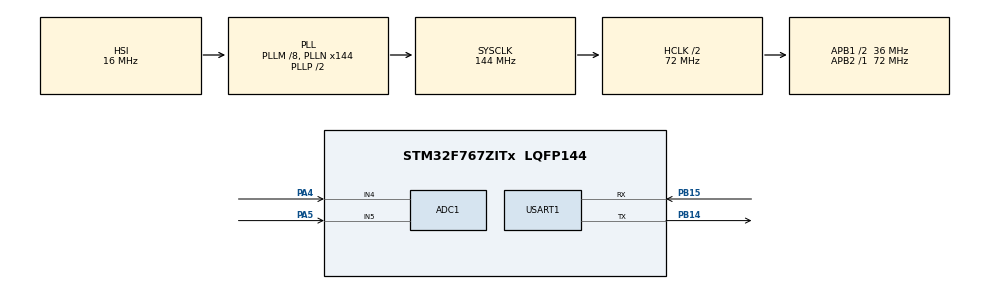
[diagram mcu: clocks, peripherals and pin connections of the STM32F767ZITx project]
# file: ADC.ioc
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ADC1.Channel-1\#ChannelRegularConversion=ADC_CHANNEL_5
ADC1.Channel-2\#ChannelRegularConversion=ADC_CHANNEL_4
ADC1.Channel-3\#ChannelRegularConversion=ADC_CHANNEL_TEMPSENSOR
ADC1.Channel-4\#ChannelRegularConversion=ADC_CHANNEL_VREFINT
ADC1.ClockPrescaler=ADC_CLOCK_SYNC_PCLK_DIV6
ADC1.ContinuousConvMode=ENABLE
ADC1.DMAContinuousRequests=ENABLE
ADC1.NbrOfConversion=4
ADC1.NbrOfConversionFlag=1
ADC1.Rank-1\#ChannelRegularConversion=1
ADC1.Rank-2\#ChannelRegularConversion=2
ADC1.Rank-3\#ChannelRegularConversion=3
ADC1.Rank-4\#ChannelRegularConversion=4
ADC1.SamplingTime-1\#ChannelRegularConversion=ADC_SAMPLETIME_56CYCLES
ADC1.SamplingTime-2\#ChannelRegularConversion=ADC_SAMPLETIME_56CYCLES
ADC1.SamplingTime-3\#ChannelRegularConversion=ADC_SAMPLETIME_56CYCLES
ADC1.SamplingTime-4\#ChannelRegularConversion=ADC_SAMPLETIME_56CYCLES
ADC1.master=1
CORTEX_M7.default_mode_Activation=1
Dma.ADC1.0.Direction=DMA_PERIPH_TO_MEMORY
Dma.ADC1.0.FIFOMode=DMA_FIFOMODE_DISABLE
Dma.ADC1.0.Instance=DMA2_Stream0
Dma.ADC1.0.MemDataAlignment=DMA_MDATAALIGN_HALFWORD
Dma.ADC1.0.MemInc=DMA_MINC_ENABLE
Dma.ADC1.0.Mode=DMA_CIRCULAR
Dma.ADC1.0.PeriphDataAlignment=DMA_PDATAALIGN_HALFWORD
Dma.ADC1.0.PeriphInc=DMA_PINC_DISABLE
Dma.ADC1.0.Priority=DMA_PRIORITY_LOW
Dma.Request0=ADC1
Dma.Request1=USART1_TX
Dma.USART1_TX.1.Direction=DMA_MEMORY_TO_PERIPH
Dma.USART1_TX.1.FIFOMode=DMA_FIFOMODE_DISABLE
Dma.USART1_TX.1.Instance=DMA2_Stream7
Dma.USART1_TX.1.MemDataAlignment=DMA_MDATAALIGN_BYTE
Dma.USART1_TX.1.MemInc=DMA_MINC_ENABLE
Dma.USART1_TX.1.Mode=DMA_NORMAL
Dma.USART1_TX.1.PeriphDataAlignment=DMA_PDATAALIGN_BYTE
Dma.USART1_TX.1.PeriphInc=DMA_PINC_DISABLE
Dma.USART1_TX.1.Priority=DMA_PRIORITY_LOW
Mcu.Family=STM32F7
Mcu.Name=STM32F767ZITx
Mcu.Package=LQFP144
NVIC.DMA2_Stream0_IRQn=true\:0\:0\:false\:false\:true\:false\:true\:true
NVIC.DMA2_Stream7_IRQn=true\:0\:0\:false\:false\:true\:false\:true\:true
NVIC.PriorityGroup=NVIC_PRIORITYGROUP_4
NVIC.USART1_IRQn=true\:0\:0\:false\:false\:true\:true\:true\:true
PA13.Mode=Serial_Wire
PA13.Signal=SYS_JTMS-SWDIO
PA14.Mode=Serial_Wire
PA14.Signal=SYS_JTCK-SWCLK
PA4.Signal=ADCx_IN4
PA5.Signal=ADCx_IN5
PB14.Mode=Asynchronous
PB14.Signal=USART1_TX
PB15.Mode=Asynchronous
PB15.Signal=USART1_RX
ProjectManager.HeapSize=0x200
ProjectManager.StackSize=0x400
ProjectManager.TargetToolchain=STM32CubeIDE
RCC.AHBCLKDivider=RCC_SYSCLK_DIV2
RCC.AHBFreq_Value=72000000
RCC.APB1CLKDivider=RCC_HCLK_DIV2
RCC.APB1Freq_Value=36000000
RCC.APB1TimFreq_Value=72000000
RCC.APB2Freq_Value=72000000
RCC.APB2TimFreq_Value=72000000
RCC.CortexFreq_Value=72000000
RCC.HCLKFreq_Value=72000000
RCC.HSE_VALUE=25000000
RCC.HSI_VALUE=16000000
RCC.LSE_VALUE=32768
RCC.PLLM=8
RCC.PLLN=144
RCC.SYSCLKFreq_VALUE=144000000
RCC.SYSCLKSource=RCC_SYSCLKSOURCE_PLLCLK
RCC.USBFreq_Value=144000000
RCC.VCOOutputFreq_Value=288000000
SH.ADCx_IN4.0=ADC1_IN4,IN4
SH.ADCx_IN5.0=ADC1_IN5,IN5
USART1.VirtualMode-Asynchronous=VM_ASYNC
VP_ADC1_TempSens_Input.Mode=IN-TempSens
VP_ADC1_Vref_Input.Mode=IN-Vrefint
board=custom

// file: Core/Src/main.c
/* USER CODE BEGIN Header */
/**
  ******************************************************************************
  * @file           : main.c
  * @brief          : Main program body
  ******************************************************************************
  * @attention
  *
  * Copyright (c) 2025 STMicroelectronics.
  * All rights reserved.
  *
  * This software is licensed under terms that can be found in the LICENSE file
  * in the root directory of this software component.
  * If no LICENSE file comes with this software, it is provided AS-IS.
  *
  ******************************************************************************
  */
/* USER CODE END Header */
#include "main.h"
#include "adc.h"
#include "dma.h"
#include "usart.h"
#include "gpio.h"

/* USER CODE BEGIN Includes */
#include <stdio.h>
#include <string.h>
/* USER CODE END Includes */

void SystemClock_Config(void);
static void MPU_Config(void);

/* USER CODE BEGIN 0 */
#define SAMPLE_NUM   128
uint16_t adc_buf[SAMPLE_NUM * 2];
uint16_t buffer[SAMPLE_NUM * 2];
uint16_t tx_buff1[SAMPLE_NUM];
uint16_t tx_buff2[SAMPLE_NUM];
char message[2000] = "";
char *ptr_mes = message;
volatile int adcBufReady = 0;
volatile int uartTxBusy = 0;

void HAL_ADC_ConvHalfCpltCallback(ADC_HandleTypeDef* hadc)
{
    if (hadc == &hadc1) {
    	memcpy(tx_buff1, &adc_buf[0], SAMPLE_NUM * sizeof(uint16_t));
    	adcBufReady = 1;
    }
}

void HAL_ADC_ConvCpltCallback(ADC_HandleTypeDef* hadc)
{
    if (hadc == &hadc1) {
    	memcpy(tx_buff2, &adc_buf[SAMPLE_NUM], SAMPLE_NUM * sizeof(uint16_t));
    	adcBufReady = 2;
    }
}

void HAL_UART_TxCpltCallback(UART_HandleTypeDef *huart)
{
    if (huart == &huart1)
    {
        uartTxBusy = 0;
    }
}

uint32_t ADC2Voltage(uint32_t adc_value){
	return ((330 * adc_value)/4095);
}

/* USER CODE END 0 */

int main(void)
{

  /* MPU Configuration--------------------------------------------------------*/
  MPU_Config();

  /* MCU Configuration--------------------------------------------------------*/

  /* Reset of all peripherals, Initializes the Flash interface and the Systick. */
  HAL_Init();

  /* Configure the system clock */
  SystemClock_Config();

  /* Initialize all configured peripherals */
  MX_GPIO_Init();
  MX_DMA_Init();
  MX_ADC1_Init();
  MX_USART1_UART_Init();
  /* USER CODE BEGIN 2 */
  HAL_ADC_Start_DMA(&hadc1, (uint32_t*)adc_buf, sizeof(adc_buf)/sizeof(uint16_t));

  /* USER CODE END 2 */

  /* Infinite loop */
  /* USER CODE BEGIN WHILE */

  while (1)
  {
	  if(adcBufReady && !uartTxBusy){
		  ptr_mes = message;
		  if(adcBufReady == 1){
			  for (int i = 0; i < SAMPLE_NUM/4; i++){
				    int v1 = ADC2Voltage(tx_buff1[i * 4]);
				    int v2 = ADC2Voltage(tx_buff1[i * 4 + 1]);
				    int temp = tx_buff1[i * 4 + 2];
				    int vref = ADC2Voltage(tx_buff1[i * 4 + 3]);
				    ptr_mes += sprintf(ptr_mes, "V1 = %u.%02uV,  V2 = %u.%02uV, temp = %d,  Vref = %u.%02uV\r\n",
				    		v1/100,v1%100, v2/100,v2%100, temp, vref/100,vref%100);
			  }
			  HAL_UART_Transmit_DMA(&huart1, (uint8_t*)message, ptr_mes - message);
			  adcBufReady = 0 ;
			  uartTxBusy = 1;
		  }

		  if(adcBufReady == 2){
			  for (int i = 0; i < SAMPLE_NUM/4; i++){
				    int v1 = ADC2Voltage(tx_buff2[i * 4]);
				    int v2 = ADC2Voltage(tx_buff2[i * 4 + 1]);
				    int temp = tx_buff2[i * 4 + 2];
				    int vref = ADC2Voltage(tx_buff2[i * 4 + 3]);
				    ptr_mes += sprintf(ptr_mes, "V1 = %u.%02uV,  V2 = %u.%02uV, temp = %d,  Vref = %u.%02uV\r\n",
				    		v1/100,v1%100, v2/100,v2%100, temp, vref/100,vref%100);
			  }
			  HAL_UART_Transmit_DMA(&huart1, (uint8_t*)message, ptr_mes - message);
			  adcBufReady = 0 ;
			  uartTxBusy = 1;
		  }
	  }

    /* USER CODE END WHILE */

  }
}

void SystemClock_Config(void)
{
  RCC_OscInitTypeDef RCC_OscInitStruct = {0};
  RCC_ClkInitTypeDef RCC_ClkInitStruct = {0};

  /** Configure the main internal regulator output voltage
  */
  __HAL_RCC_PWR_CLK_ENABLE();
  __HAL_PWR_VOLTAGESCALING_CONFIG(PWR_REGULATOR_VOLTAGE_SCALE3);

  /** Initializes the RCC Oscillators according to the specified parameters
  * in the RCC_OscInitTypeDef structure.
  */
  RCC_OscInitStruct.OscillatorType = RCC_OSCILLATORTYPE_HSI;
  RCC_OscInitStruct.HSIState = RCC_HSI_ON;
  RCC_OscInitStruct.HSICalibrationValue = RCC_HSICALIBRATION_DEFAULT;
  RCC_OscInitStruct.PLL.PLLState = RCC_PLL_ON;
  RCC_OscInitStruct.PLL.PLLSource = RCC_PLLSOURCE_HSI;
  RCC_OscInitStruct.PLL.PLLM = 8;
  RCC_OscInitStruct.PLL.PLLN = 144;
  RCC_OscInitStruct.PLL.PLLP = RCC_PLLP_DIV2;
  RCC_OscInitStruct.PLL.PLLQ = 2;
  RCC_OscInitStruct.PLL.PLLR = 2;
  if (HAL_RCC_OscConfig(&RCC_OscInitStruct) != HAL_OK)
  {
    Error_Handler();
  }

  /** Initializes the CPU, AHB and APB buses clocks
  */
  RCC_ClkInitStruct.ClockType = RCC_CLOCKTYPE_HCLK|RCC_CLOCKTYPE_SYSCLK
                              |RCC_CLOCKTYPE_PCLK1|RCC_CLOCKTYPE_PCLK2;
  RCC_ClkInitStruct.SYSCLKSource = RCC_SYSCLKSOURCE_PLLCLK;
  RCC_ClkInitStruct.AHBCLKDivider = RCC_SYSCLK_DIV2;
  RCC_ClkInitStruct.APB1CLKDivider = RCC_HCLK_DIV2;
  RCC_ClkInitStruct.APB2CLKDivider = RCC_HCLK_DIV1;

  if (HAL_RCC_ClockConfig(&RCC_ClkInitStruct, FLASH_LATENCY_2) != HAL_OK)
  {
    Error_Handler();
  }
}

 /* MPU Configuration */

void MPU_Config(void)
{
  MPU_Region_InitTypeDef MPU_InitStruct = {0};

  /* Disables the MPU */
  HAL_MPU_Disable();

  /** Initializes and configures the Region and the memory to be protected
  */
  MPU_InitStruct.Enable = MPU_REGION_ENABLE;
  MPU_InitStruct.Number = MPU_REGION_NUMBER0;
  MPU_InitStruct.BaseAddress = 0x0;
  MPU_InitStruct.Size = MPU_REGION_SIZE_4GB;
  MPU_InitStruct.SubRegionDisable = 0x87;
  MPU_InitStruct.TypeExtField = MPU_TEX_LEVEL0;
  MPU_InitStruct.AccessPermission = MPU_REGION_NO_ACCESS;
  MPU_InitStruct.DisableExec = MPU_INSTRUCTION_ACCESS_DISABLE;
  MPU_InitStruct.IsShareable = MPU_ACCESS_SHAREABLE;
  MPU_InitStruct.IsCacheable = MPU_ACCESS_NOT_CACHEABLE;
  MPU_InitStruct.IsBufferable = MPU_ACCESS_NOT_BUFFERABLE;

  HAL_MPU_ConfigRegion(&MPU_InitStruct);
  /* Enables the MPU */
  HAL_MPU_Enable(MPU_PRIVILEGED_DEFAULT);

}

void Error_Handler(void)
{
  __disable_irq();
  while (1)
  {
  }
}
